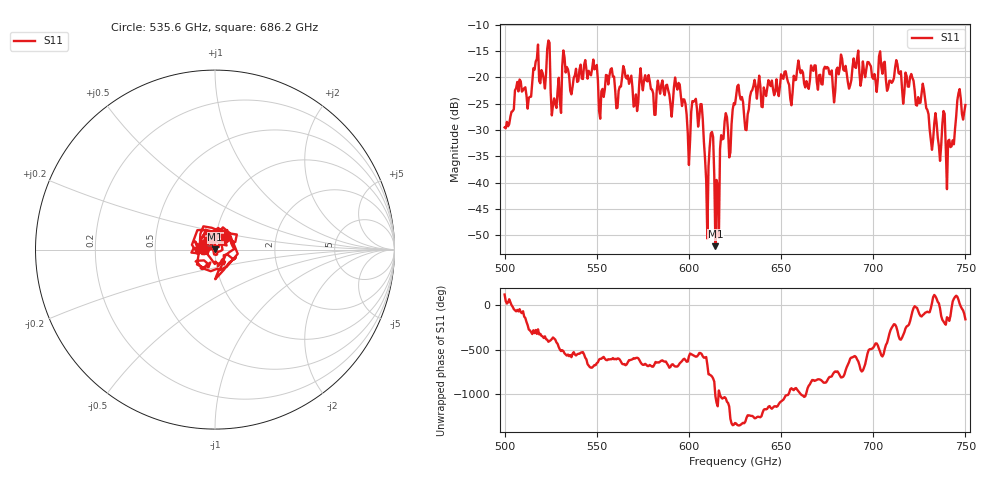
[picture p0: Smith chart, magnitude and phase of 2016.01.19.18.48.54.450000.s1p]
!Created with skrf (http://scikit-rf.org).
# GHz S RI R 50.0
!freq ReS11 ImS11
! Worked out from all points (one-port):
!   401 points, 500 GHz to 750 GHz, reference 50 ohm
!   lowest |S11| = -52.1 dB at 614.4 GHz (marker M1), VSWR 1.01, Z = 50.1 + j0.215 ohm
!   |S11| at or under -10 dB: start of sweep to end of sweep
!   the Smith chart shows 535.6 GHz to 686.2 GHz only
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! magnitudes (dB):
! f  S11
! 500 GHz  -29.5
! 507.5 GHz  -22.6
! 513.1 GHz  -23.9
! 516.9 GHz  -17.0
! 523.8 GHz  -13.0
! 526.9 GHz  -24.0
! 531.2 GHz  -17.9
! 562.5 GHz  -21.7
! 593.8 GHz  -22.3
! 599.4 GHz  -30.6
! 602.5 GHz  -24.6
! 606.9 GHz  -25.1
! 609.4 GHz  -39.6
! 611.9 GHz  -30.7
! 614.4 GHz  -52.1
! 615 GHz  -39.5
! 618.8 GHz  -31.6
! 622.5 GHz  -34.2
! 625 GHz  -25.1
! 631.2 GHz  -30.0
! 635 GHz  -21.6
! 656.2 GHz  -22.8
! 660 GHz  -18.2
! 687.5 GHz  -21.5
! 718.8 GHz  -21.7
! 740.6 GHz  -32.0
! 746.2 GHz  -23.0
! 750 GHz  -25.2
